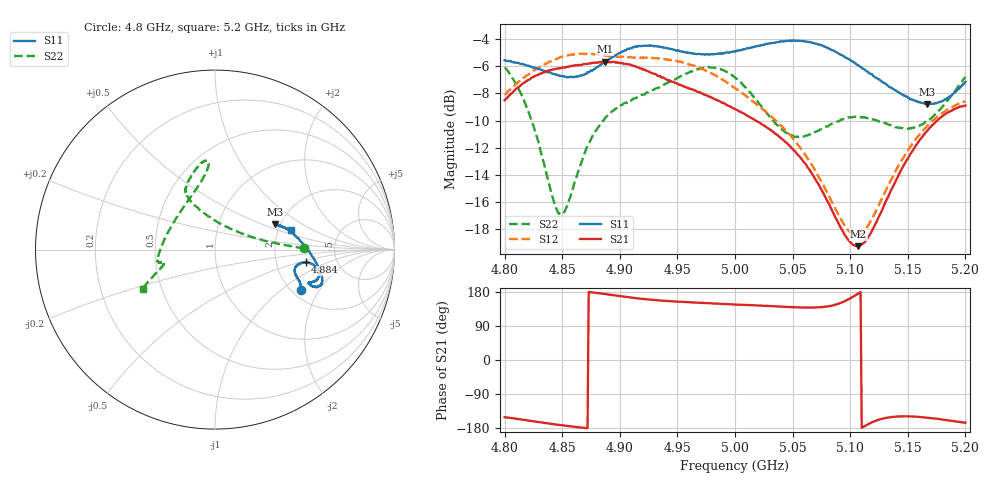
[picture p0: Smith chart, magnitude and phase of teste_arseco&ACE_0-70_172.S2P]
! Network Analyzer HP8722D
! Hewlett-Packard
! Data name: Linha & Wilkinson
! Saver's name: Rodrigo Anjos
! Comments: Teste da utilização de aquisição
! continua pelo VNA HP8722D
! Time and date: 8/5/2025 14:11
!  Frequency  S11  S21  S12  S22
# HZ  S  MA R 50
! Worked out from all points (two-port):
!   401 points, 4.8 GHz to 5.2 GHz, reference 50 ohm
!   highest |S21| = -5.64 dB at 4.887 GHz (marker M1); lowest = -19.3 dB at 5.107 GHz (marker M2)
!   |S21| within 3 dB of the highest: start of sweep to 4.988 GHz
!   lowest |S11| = -8.8 dB at 5.167 GHz (marker M3), VSWR 2.15, Z = 94.1 + j30.5 ohm
!   |S11| at or under -10 dB: nowhere
!   |S22| runs from -17.0 to -6.0 dB; largest |S21 - S12| = 1.1
!   S11 on the Smith chart (normalised r, x): 4.8 GHz: 2.23, -1.39; 4.884 GHz: 2.96, -0.57; 5.2 GHz: 2.35, +0.64
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4.8e9  0.5283 -25.3  0.376 -150.9  0.3936 8.4  0.4962 1.0
4.821e9  0.5041 -20.6  0.4474 -160.2  0.4687 5.2  0.3382 6.4
4.842e9  0.471 -17.3  0.4886 -169.2  0.5279 2.0  0.1633 37.3
4.847e9  0.4638 -16.4  0.4938 -171.2  0.5383 1.1  0.1432 56.0
4.854e9  0.4577 -14.6  0.4993 -174.0  0.5496 0.1  0.1524 82.8
4.867e9  0.4646 -11.0  0.5074 -178.4  0.5576 -1.8  0.2232 109.1
4.884e9  0.5097 -8.0  0.5205 175.3  0.5502 -3.0  0.3098 117.1
4.887e9  0.5195 -7.8  0.5224 174.2  0.5503 -3.0  0.3222 117.3
4.912e9  0.5897 -11.5  0.5038 163.9  0.5396 -2.3  0.3815 115.3
4.934e9  0.5936 -16.3  0.4612 157.1  0.5361 -3.2  0.4184 109.6
4.975e9  0.5546 -19.8  0.3926 149.9  0.4823 -6.8  0.4982 97.0
5e9  0.5692 -20.4  0.3486 146.3  0.417 -6.7  0.4566 95.1
5.043e9  0.62 -18.6  0.2652 140.5  0.2942 1.4  0.2881 130.7
5.067e9  0.6129 -14.0  0.2012 138.3  0.2161 8.7  0.2828 164.9
5.095e9  0.5436 -4.3  0.1199 154.8  0.1299 34.9  0.3201 -172.3
5.107e9  0.5063 1.5  0.1087 175.5  0.1193 58.2  0.3263 -168.4
5.117e9  0.4718 6.9  0.1197 -166.9  0.1326 77.1  0.3206 -167.0
5.134e9  0.421 15.0  0.1694 -151.2  0.1855 94.3  0.3048 -166.2
5.151e9  0.3833 20.9  0.2331 -148.7  0.2491 99.6  0.2952 -164.8
5.167e9  0.3641 22.7  0.2901 -152.2  0.3025 100.5  0.3145 -161.7
5.182e9  0.3782 20.7  0.333 -157.8  0.3416 100.6  0.3631 -157.6
5.2e9  0.4391 14.6  0.3591 -165.7  0.3732 100.9  0.4581 -151.5
